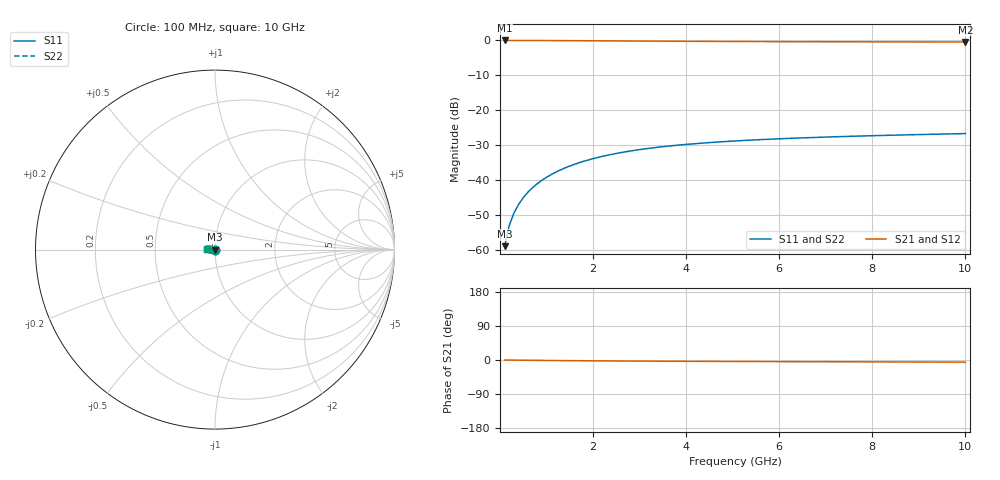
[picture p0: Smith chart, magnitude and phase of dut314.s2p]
! Touchstone file exported from HFSS 2024.1.0
!  File:  C:/UserFiles/LocalFiles/RDL_TSV_Batchsim/temp_TSV1_314_1779616272.aedt
!  Generated:  05:56:43 PM May 24, 2026
!  Design:  TSV1
!  Project:  temp_TSV1_314_1779616272
!  Setup:  Setup1
!  Solution:  Sweep
! Variables:
!  dtsv = 8.41um
!  hbump = 3um
!  htsv = 89.44um
!  lrdl = 252.1521522um
!  p = 40
!  p1 = 44.88um
!  t = 500um
!  trdl = 3um
!  wrdl = 24.89489489um
# GHz S MA R 50.000000
! Terminal data exported
! Port[1] = TSV22_T1
! Port[2] = TSV22_T2
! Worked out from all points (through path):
!   100 points, 100 MHz to 10 GHz, reference 50 ohm
!   highest |S21| = 0.00 dB at 100 MHz (marker M1); lowest = -0.4 dB at 10 GHz (marker M2)
!   lowest |S11| = -58.8 dB at 100 MHz (marker M3), VSWR 1.00, Z = 50 - j0.114 ohm
!   |S11| at or under -10 dB: start of sweep to end of sweep
!   |S22| runs from -58.8 to -26.6 dB; largest |S21 - S12| = 1.1e-14
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0.1  0.001153 -80.6  0.9997 -0.1  0.9997 -0.1  0.001153 -80.6
! Gamma 0 0 0 0
! Port Impedance 50 0 50 0
0.2  0.002281 -87.6  0.9996 -0.2  0.9996 -0.2  0.002281 -87.6
0.3  0.003417 -91.1  0.9994 -0.4  0.9994 -0.4  0.003417 -91.1
0.4  0.004549 -93.7  0.9992 -0.5  0.9992 -0.5  0.004549 -93.7
0.5  0.005674 -96.0  0.9989 -0.6  0.9989 -0.6  0.005674 -96.0
0.6  0.006788 -98.1  0.9985 -0.7  0.9985 -0.7  0.006788 -98.1
0.7  0.00789 -100.0  0.9981 -0.9  0.9981 -0.9  0.00789 -100.0
0.8  0.008978 -101.9  0.9976 -1.0  0.9976 -1.0  0.008978 -101.9
0.9  0.01005 -103.7  0.9971 -1.1  0.9971 -1.1  0.01005 -103.7
1.1  0.01214 -107.2  0.9959 -1.3  0.9959 -1.3  0.01214 -107.2
1.4  0.01513 -112.1  0.9937 -1.6  0.9937 -1.6  0.01513 -112.1
1.6  0.01701 -115.2  0.9922 -1.8  0.9922 -1.8  0.01701 -115.2
1.8  0.0188 -118.3  0.9905 -2.0  0.9905 -2.0  0.0188 -118.3
2.1  0.02131 -122.6  0.988 -2.2  0.988 -2.2  0.02131 -122.6
2.5  0.02432 -128.0  0.9845 -2.6  0.9845 -2.6  0.02432 -128.0
2.9  0.02698 -132.9  0.9811 -2.8  0.9811 -2.8  0.02698 -132.9
3.4  0.02985 -138.6  0.977 -3.1  0.977 -3.1  0.02985 -138.6
4.2  0.03359 -146.6  0.9713 -3.5  0.9713 -3.5  0.03359 -146.6
5.1  0.03684 -154.3  0.966 -3.9  0.966 -3.9  0.03684 -154.3
6.7  0.04104 -165.6  0.959 -4.5  0.959 -4.5  0.04104 -165.6
8.4  0.04429 -175.2  0.954 -5.1  0.954 -5.1  0.04428 -175.2
10  0.04677 177.2  0.9508 -5.6  0.9508 -5.6  0.04677 177.2
